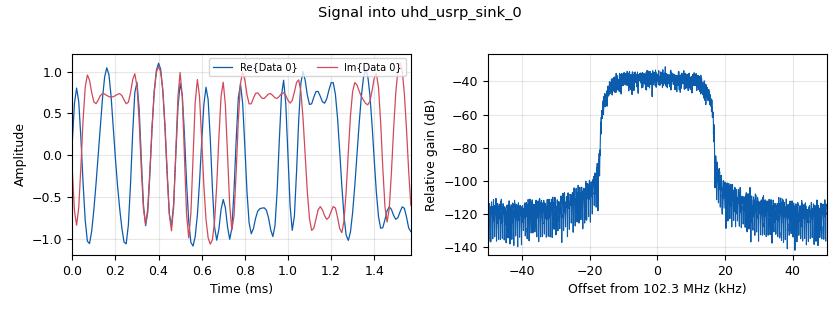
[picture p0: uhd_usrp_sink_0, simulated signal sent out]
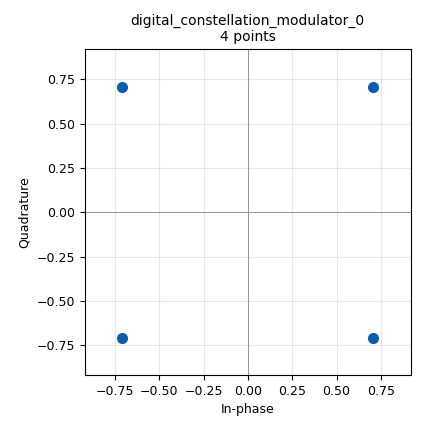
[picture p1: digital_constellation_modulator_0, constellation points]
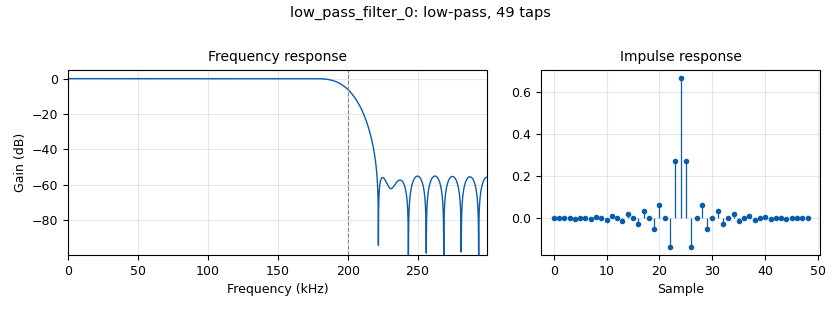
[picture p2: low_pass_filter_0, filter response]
<?xml version='1.0' encoding='utf-8'?>
<?grc format='1' created='3.7.9'?>
<flow_graph>
<block>
<key>options</key>
<param><key>id</key><value>command_hopper</value></param>
<param><key>author</key><value>Bill Urrego</value></param>
<param><key>category</key><value>Custom</value></param>
<param><key>generate_options</key><value>wx_gui</value></param>
<param><key>title</key><value>Hop on Demand</value></param>
</block>
<block>
<key>variable</key>
<param><key>id</key><value>excess_bw</value></param>
<param><key>value</key><value>0.35</value></param>
</block>
<block>
<key>variable_constellation_rect</key>
<param><key>id</key><value>qpsk</value></param>
<param><key>const_points</key><value>[0.707+0.707j, -0.707+0.707j, -0.707-0.707j, 0.707-0.707j]</value></param>
<param><key>imag_sect</key><value>2</value></param>
<param><key>real_sect</key><value>2</value></param>
<param><key>rot_sym</key><value>4</value></param>
<param><key>sym_map</key><value>[0, 1, 2, 3]</value></param>
<param><key>w_imag_sect</key><value>1</value></param>
<param><key>w_real_sect</key><value>1</value></param>
</block>
<block>
<key>variable</key>
<param><key>id</key><value>rx_freq</value></param>
<param><key>value</key><value>102.3e6</value></param>
</block>
<block>
<key>variable</key>
<param><key>id</key><value>rx_samp_rate</value></param>
<param><key>value</key><value>600e3</value></param>
</block>
<block>
<key>variable</key>
<param><key>id</key><value>sps</value></param>
<param><key>value</key><value>4</value></param>
</block>
<block>
<key>variable</key>
<param><key>id</key><value>tx_freq</value></param>
<param><key>value</key><value>102.3e6</value></param>
</block>
<block>
<key>variable</key>
<param><key>id</key><value>tx_samp_rate</value></param>
<param><key>value</key><value>100e3</value></param>
</block>
<block>
<key>analog_random_source_x</key>
<param><key>id</key><value>analog_random_source_x_0</value></param>
<param><key>max</key><value>256</value></param>
<param><key>min</key><value>0</value></param>
<param><key>num_samps</key><value>1000</value></param>
<param><key>type</key><value>byte</value></param>
<param><key>repeat</key><value>True</value></param>
</block>
<block>
<key>blocks_probe_signal_x</key>
<param><key>id</key><value>blocks_probe_signal_x_0</value></param>
<param><key>type</key><value>complex</value></param>
</block>
<block>
<key>digital_constellation_modulator</key>
<param><key>id</key><value>digital_constellation_modulator_0</value></param>
<param><key>constellation</key><value>qpsk</value></param>
<param><key>differential</key><value>True</value></param>
<param><key>excess_bw</key><value>excess_bw</value></param>
<param><key>samples_per_symbol</key><value>sps</value></param>
</block>
<block>
<key>low_pass_filter</key>
<param><key>id</key><value>low_pass_filter_0</value></param>
<param><key>cutoff_freq</key><value>200e3</value></param>
<param><key>decim</key><value>1</value></param>
<param><key>type</key><value>fir_filter_ccf</value></param>
<param><key>gain</key><value>1</value></param>
<param><key>samp_rate</key><value>rx_samp_rate</value></param>
<param><key>width</key><value>30e3</value></param>
<param><key>win</key><value>firdes.WIN_HAMMING</value></param>
</block>
<block>
<key>uhd_usrp_sink</key>
<param><key>id</key><value>uhd_usrp_sink_0</value></param>
<param><key>ant0</key><value>TX/RX</value></param>
<param><key>center_freq0</key><value>tx_freq</value></param>
<param><key>norm_gain0</key><value>False</value></param>
<param><key>gain0</key><value>30</value></param>
<param><key>clock_rate</key><value>0.0</value></param>
<param><key>dev_args</key><value>""</value></param>
<param><key>type</key><value>fc32</value></param>
<param><key>samp_rate</key><value>tx_samp_rate</value></param>
<param><key>hide_cmd_port</key><value>False</value></param>
<param><key>sync</key><value></value></param>
<param><key>len_tag_name</key><value></value></param>
</block>
<block>
<key>uhd_usrp_source</key>
<param><key>id</key><value>uhd_usrp_source_0</value></param>
<param><key>ant0</key><value>RX2</value></param>
<param><key>center_freq0</key><value>rx_freq</value></param>
<param><key>dc_offs_enb0</key><value>""</value></param>
<param><key>iq_imbal_enb0</key><value>""</value></param>
<param><key>norm_gain0</key><value>False</value></param>
<param><key>gain0</key><value>15</value></param>
<param><key>clock_rate</key><value>0.0</value></param>
<param><key>dev_args</key><value>""</value></param>
<param><key>type</key><value>fc32</value></param>
<param><key>samp_rate</key><value>rx_samp_rate</value></param>
<param><key>hide_cmd_port</key><value>False</value></param>
<param><key>sync</key><value></value></param>
</block>
<block>
<key>wxgui_fftsink2</key>
<param><key>id</key><value>wxgui_fftsink2_0</value></param>
<param><key>avg_alpha</key><value>0</value></param>
<param><key>average</key><value>True</value></param>
<param><key>baseband_freq</key><value>rx_freq</value></param>
<param><key>fft_size</key><value>1024</value></param>
<param><key>freqvar</key><value>None</value></param>
<param><key>peak_hold</key><value>True</value></param>
<param><key>ref_level</key><value>0</value></param>
<param><key>ref_scale</key><value>2.0</value></param>
<param><key>fft_rate</key><value>15</value></param>
<param><key>samp_rate</key><value>rx_samp_rate</value></param>
<param><key>title</key><value>FFT Plot</value></param>
<param><key>type</key><value>complex</value></param>
<param><key>win</key><value>None</value></param>
<param><key>y_divs</key><value>10</value></param>
<param><key>y_per_div</key><value>10</value></param>
</block>
<block>
<key>zeromq_sub_source</key>
<param><key>id</key><value>zeromq_sub_source_0</value></param>
<param><key>address</key><value>tcp://127.0.0.1:5557</value></param>
<param><key>type</key><value>complex</value></param>
<param><key>timeout</key><value>1000</value></param>
</block>
<connection><source_block_id>analog_random_source_x_0</source_block_id><sink_block_id>digital_constellation_modulator_0</sink_block_id><source_key>0</source_key><sink_key>0</sink_key></connection>
<connection><source_block_id>digital_constellation_modulator_0</source_block_id><sink_block_id>uhd_usrp_sink_0</sink_block_id><source_key>0</source_key><sink_key>0</sink_key></connection>
<connection><source_block_id>low_pass_filter_0</source_block_id><sink_block_id>wxgui_fftsink2_0</sink_block_id><source_key>0</source_key><sink_key>0</sink_key></connection>
<connection><source_block_id>uhd_usrp_source_0</source_block_id><sink_block_id>low_pass_filter_0</sink_block_id><source_key>0</source_key><sink_key>0</sink_key></connection>
<connection><source_block_id>zeromq_sub_source_0</source_block_id><sink_block_id>blocks_probe_signal_x_0</sink_block_id><source_key>0</source_key><sink_key>0</sink_key></connection>
</flow_graph>
